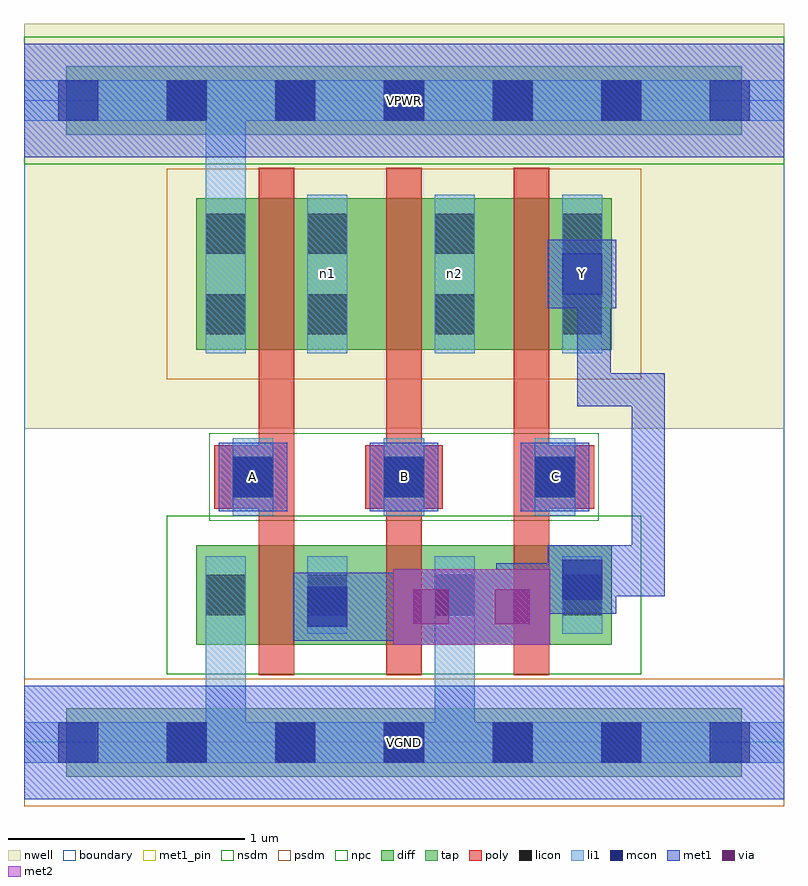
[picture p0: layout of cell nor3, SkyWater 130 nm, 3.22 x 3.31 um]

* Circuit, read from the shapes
.subckt nor3 A B C VGND VPWR Y n1 n2
XM1 Y A VGND VGND sky130_fd_pr__nfet_01v8 w=0.42 l=0.15
XM2 VGND B Y VGND sky130_fd_pr__nfet_01v8 w=0.42 l=0.15
XM3 Y C VGND VGND sky130_fd_pr__nfet_01v8 w=0.42 l=0.15
XM4 n1 A VPWR VPWR sky130_fd_pr__pfet_01v8 w=0.64 l=0.15
XM5 n2 B n1 VPWR sky130_fd_pr__pfet_01v8 w=0.64 l=0.15
XM6 Y C n2 VPWR sky130_fd_pr__pfet_01v8 w=0.64 l=0.15
.ends

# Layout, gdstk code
import gdstk
lib = gdstk.Library(unit=1e-6, precision=1e-09)
def R(c, l, rs):  # rectangles x0, y0, x1, y1
    for r in rs: c.add(gdstk.rectangle(r[:2], r[2:], *l))
def A(c, l, x, y, w, h, nx, ny, dx, dy):  # array of equal rectangles
    R(c, l, [(x+i*dx, y+j*dy, x+i*dx+w, y+j*dy+h) for i in range(nx) for j in range(ny)])
nwell = (64, 20)
diff = (65, 20)
tap = (65, 44)
poly = (66, 20)
licon = (66, 44)
li1 = (67, 20)
mcon = (67, 44)
met1_pin = (68, 16)
met1 = (68, 20)
via = (68, 44)
met2 = (69, 20)
nsdm = (93, 44)
psdm = (94, 20)
npc = (95, 20)
boundary = (235, 4)

nor3 = lib.new_cell('nor3')
R(nor3, nwell, [(0,1.33,3.22,3.045)])
R(nor3, diff, [(0.73,0.415,2.49,0.835), (0.73,1.665,2.49,2.305)])
R(nor3, tap, [(0.18,-0.145,3.04,0.145), (0.18,2.575,3.04,2.865)])
A(nor3, poly, 0.995, 0.285, 0.15, 2.15, 3, 1, 0.54, 0)
A(nor3, poly, 0.805, 0.99, 0.33, 0.27, 3, 1, 0.64, 0)
A(nor3, licon, 0.605, -0.085, 0.17, 0.17, 5, 2, 0.46, 2.72)
A(nor3, licon, 1.2, 0.54, 0.17, 0.17, 3, 2, 0.54, 1.19)
A(nor3, licon, 0.885, 1.04, 0.17, 0.17, 3, 1, 0.64, 0)
A(nor3, licon, 1.2, 2.07, 0.17, 0.17, 3, 1, 0.54, 0)
R(nor3, licon, [(0.77,0.54,0.94,0.71), (0.77,1.73,0.94,1.9), (0.77,2.07,0.94,2.24)])
A(nor3, li1, 1.2, 0.46, 0.17, 0.33, 3, 1, 0.54, 0)
A(nor3, li1, 0.885, 0.96, 0.17, 0.33, 3, 1, 0.64, 0)
A(nor3, li1, 1.2, 1.65, 0.17, 0.67, 3, 1, 0.54, 0)
R(nor3, li1, [(0,-0.085,3.22,0.085), (0.77,-0.085,0.94,0.79), (1.74,-0.085,1.91,0.79), (0.77,0.46,0.94,0.79), (0.77,1.65,0.94,2.32), (0.77,1.65,0.94,2.805), (0,2.635,3.22,2.805)])
A(nor3, mcon, 0.145, -0.085, 0.17, 0.17, 7, 2, 0.46, 2.72)
A(nor3, mcon, 0.885, 1.04, 0.17, 0.17, 3, 1, 0.64, 0)
R(nor3, mcon, [(1.2,0.49,1.37,0.66), (2.28,0.605,2.45,0.775), (2.28,1.9,2.45,2.07)])
A(nor3, met1_pin, 0.825, 0.98, 0.29, 0.29, 3, 1, 0.64, 0)
R(nor3, met1_pin, [(0,-0.24,3.22,0.24), (2.22,1.84,2.51,2.13), (0,2.48,3.22,2.96)])
A(nor3, met1, 0.825, 0.98, 0.29, 0.29, 3, 1, 0.64, 0)
R(nor3, met1, [(0,-0.24,3.22,0.24), (1.565,0.415,1.885,0.735), (1.885,0.415,1.91,0.735), (1.91,0.415,2.23,0.735), (1.14,0.43,1.43,0.72), (1.43,0.43,1.565,0.72), (1.215,0.505,1.45,0.645), (1.31,0.505,1.795,0.645), (1.795,0.505,1.91,0.645), (1.885,0.505,2,0.735), (2,0.505,2.14,0.76), (2.14,0.545,2.22,0.76), (2.22,0.545,2.51,0.835), (1.885,0.62,2,0.735), (2,0.62,2.6,0.76), (2.295,0.62,2.6,0.76), (2.46,0.62,2.715,0.76), (2.51,0.62,2.575,0.835), (2.575,0.62,2.715,1.565), (2.345,1.425,2.485,2.025), (2.345,1.425,2.715,1.565), (2.22,1.84,2.51,2.13), (2.345,1.885,2.485,2.025), (0,2.48,3.22,2.96)])
R(nor3, via, [(1.65,0.5,1.8,0.65), (1.995,0.5,2.145,0.65)])
R(nor3, met2, [(1.565,0.415,1.885,0.735), (1.885,0.415,1.91,0.735), (1.91,0.415,2.23,0.735), (1.655,0.505,2.14,0.645)])
R(nor3, nsdm, [(0.605,0.29,2.615,0.96), (0,2.45,3.22,2.99)])
R(nor3, psdm, [(0,-0.27,3.22,0.27), (0.605,1.54,2.615,2.43)])
R(nor3, npc, [(0.785,0.94,2.435,1.31)])
R(nor3, boundary, [(0,0,3.22,2.72)])
nor3.add(gdstk.Label('n1', (1.285,1.985), layer=67, texttype=5))
nor3.add(gdstk.Label('n2', (1.825,1.985), layer=67, texttype=5))
nor3.add(gdstk.Label('A', (0.97,1.125), layer=68, texttype=5))
nor3.add(gdstk.Label('B', (1.61,1.125), layer=68, texttype=5))
nor3.add(gdstk.Label('C', (2.25,1.125), layer=68, texttype=5))
nor3.add(gdstk.Label('Y', (2.365,1.985), layer=68, texttype=5))
nor3.add(gdstk.Label('VPWR', (1.61,2.72), layer=68, texttype=5))
nor3.add(gdstk.Label('VGND', (1.61,0), layer=68, texttype=5))
nor3.add(gdstk.Label('A', (0.97,1.125), layer=68, texttype=16))
nor3.add(gdstk.Label('B', (1.61,1.125), layer=68, texttype=16))
nor3.add(gdstk.Label('C', (2.25,1.125), layer=68, texttype=16))
nor3.add(gdstk.Label('Y', (2.365,1.985), layer=68, texttype=16))
nor3.add(gdstk.Label('VPWR', (1.61,2.72), layer=68, texttype=16))
nor3.add(gdstk.Label('VGND', (1.61,0), layer=68, texttype=16))

lib.write_gds('nor3.gds')
